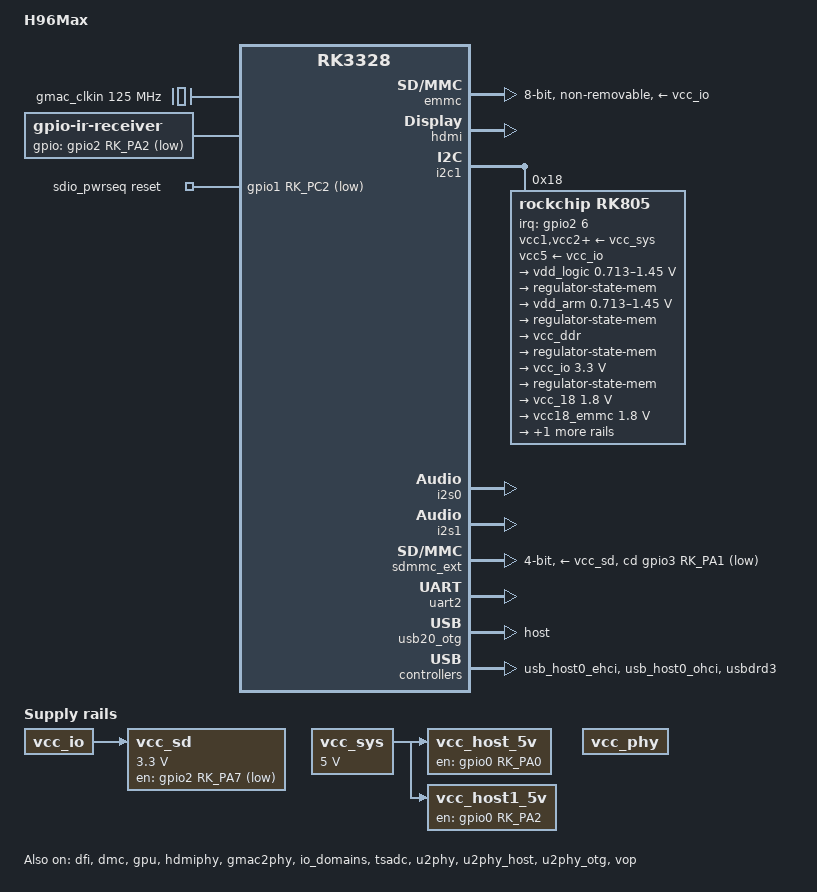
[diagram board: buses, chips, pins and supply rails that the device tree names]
// SPDX-License-Identifier: (GPL-2.0+ OR MIT)
/*
 * Copyright (c) 2017 PINE64
 */

/dts-v1/;
#include "rk3328.dtsi"

/ {
	model = "H96Max";
	compatible = "h96max,h96max", "rockchip,rk3328";

	chosen {
		bootargs = "earlycon=uart8250,mmio32,0xff130000";
		stdout-path = "serial2:1500000n8";
	};

// seems to be required to not touch the trust area - see:
// - https://forum.manjaro.org/t/rockpro64-kernel-panics-caused-by-firmware/117900
// - https://lore.kernel.org/linux-arm-kernel/006d3ee0-2711-1b4e-d8cf-6a226fcad0e4@arm.com/
// this section can be removed if a mainline u-boot without trustzone is used
	reserved-memory {
		#address-cells = <2>;
		#size-cells = <2>;
		ranges;

		tee@8400000 {
			reg = <0x0 0x8400000 0x0 0x2400000>;
			no-map;
		};
	};

// the ddr_timing is only used with legacy atf - mainline atf does not yet support dmc
	ddr_timing: ddr_timing {
		cs1_dq11_tx_de-skew = <0x7>;
		cs1_dq30_rx_de-skew = <0x7>;
		phy_lpddr3_ck_drv = <0x13>;
		cs0_dq8_tx_de-skew = <0x8>;
		cs0_dq31_tx_de-skew = <0x7>;
		lpddr4_odt_dis_freq = <0x320>;
		cs1_dq31_rx_de-skew = <0x7>;
		cs0_dq18_tx_de-skew = <0x9>;
		cs0_dqs1n_tx_de-skew = <0x8>;
		ddr4_dll_dis_freq = <0x271>;
		ddr3a14_ddr4a1_de-skew = <0x2>;
		phy_ddr4_odt_dis_freq = <0x29a>;
		cs1_dm1_tx_de-skew = <0x7>;
		cs0_dqs0_rx_de-skew = <0xa>;
		cs0_dqs1_rx_de-skew = <0x9>;
		cs0_dq9_rx_de-skew = <0xa>;
		cs0_dq25_rx_de-skew = <0x7>;
		phy_lpddr3_ca_drv = <0x16>;
		cs0_dq22_tx_de-skew = <0x9>;
		cs0_dq29_rx_de-skew = <0x7>;
		phy_ddr3_odt = <0x2>;
		cs0_dqs3_rx_de-skew = <0x7>;
		ddr3_dll_dis_freq = <0x12c>;
		cs1_dq16_rx_de-skew = <0x7>;
		ddr3a3_ddr4a6_de-skew = <0x3>;
		cs1_dq17_tx_de-skew = <0x8>;
		cs0_dq5_rx_de-skew = <0xc>;
		srpd_lite_idle = <0x0>;
		phy_lpddr4_odt = <0x10>;
		cs0_dq5_tx_de-skew = <0xa>;
		cs0_dqs3p_tx_de-skew = <0x8>;
		ddr3ras_ddr4cke_de-skew = <0x4>;
		cs1_dq28_tx_de-skew = <0x7>;
		cs1_dq8_rx_de-skew = <0x7>;
		cs1_dq14_tx_de-skew = <0x8>;
		compatible = "rockchip,ddr-timing";
		cs1_dq2_rx_de-skew = <0x7>;
		cs0_dq15_rx_de-skew = <0xa>;
		cs0_dqs3n_tx_de-skew = <0x8>;
		cs0_dm3_tx_de-skew = <0x7>;
		cs1_dq12_rx_de-skew = <0x7>;
		cs0_dq13_tx_de-skew = <0x8>;
		cs1_dm2_tx_de-skew = <0x8>;
		lpddr3_drv = <0x28>;
		ddr3a9_ddr4a0_de-skew = <0x2>;
		linux,phandle = <0xe2>;
		cs0_dqs1p_tx_de-skew = <0x8>;
		ddr3a15_ddr4odt0_de-skew = <0x3>;
		cs0_dq15_tx_de-skew = <0x8>;
		cs0_dqs0n_tx_de-skew = <0xb>;
		ddr4_odt_dis_freq = <0x29a>;
		cs1_dq15_tx_de-skew = <0x7>;
		cs1_dqs2n_tx_de-skew = <0x9>;
		cs1_dq26_tx_de-skew = <0x7>;
		cs0_dq8_rx_de-skew = <0xa>;
		cs1_dq18_rx_de-skew = <0x7>;
		cs1_dq13_rx_de-skew = <0x7>;
		cs0_dqs2_rx_de-skew = <0x9>;
		cs0_dq4_tx_de-skew = <0xa>;
		cs1_dq11_rx_de-skew = <0x7>;
		phy_ddr3_ca_drv = <0x1b>;
		ddr3odt0_ddr4a14_de-skew = <0x4>;
		cs0_dq14_rx_de-skew = <0xa>;
		cs1_dq3_tx_de-skew = <0x8>;
		cs1_dq0_rx_de-skew = <0x7>;
		cs1_dq4_tx_de-skew = <0x8>;
		cs1_dq21_tx_de-skew = <0x8>;
		cs1_dq24_tx_de-skew = <0x8>;
		auto_sr_dis_freq = <0x320>;
		cs0_dqs0p_tx_de-skew = <0xb>;
		cs1_dq9_tx_de-skew = <0x7>;
		cs0_dq9_tx_de-skew = <0x8>;
		cs1_dm2_rx_de-skew = <0x7>;
		ddr3a10_ddr4cs0_de-skew = <0x2>;
		cs0_dq10_rx_de-skew = <0xa>;
		lpddr4_drv = <0x3c>;
		ddr3a4_ddr4a5_de-skew = <0x2>;
		cs1_dqs3n_tx_de-skew = <0x9>;
		cs1_dq5_tx_de-skew = <0x8>;
		cs0_dq27_rx_de-skew = <0x7>;
		ddr3ba0_ddr4bg0_de-skew = <0x4>;
		cs1_dq10_tx_de-skew = <0x8>;
		ddr3odt1_ddr4odt1_de-skew = <0x7>;
		lpddr4_ca_odt = <0x28>;
		phy_lpddr3_odt = <0x2>;
		cs1_dq8_tx_de-skew = <0x8>;
		cs0_dq3_rx_de-skew = <0xc>;
		cs1_dq9_rx_de-skew = <0x7>;
		standby_idle = <0x0>;
		cs1_dq6_rx_de-skew = <0x7>;
		cs1_dq7_rx_de-skew = <0x7>;
		phy_lpddr3_odt_dis_freq = <0x29a>;
		cs1_dq24_rx_de-skew = <0x7>;
		cs0_dq2_tx_de-skew = <0xa>;
		phy_ddr4_ck_drv = <0x13>;
		cs0_dq2_rx_de-skew = <0xc>;
		cs0_dqs2p_tx_de-skew = <0x9>;
		phy_ddr3_odt_dis_freq = <0x64>;
		cs0_dq6_tx_de-skew = <0xa>;
		ddr3a1_ddr4a9_de-skew = <0x2>;
		cs0_dq6_rx_de-skew = <0xc>;
		cs0_dq21_rx_de-skew = <0xa>;
		cs1_dq27_tx_de-skew = <0x7>;
		cs1_dq2_tx_de-skew = <0x8>;
		ddr3ckn_ddr4ckn_de-skew = <0xa>;
		sr_idle = <0x0>;
		ddr3a11_ddr4a3_de-skew = <0x2>;
		cs1_dq3_rx_de-skew = <0x7>;
		cs0_dq3_tx_de-skew = <0xa>;
		cs1_dqs3_rx_de-skew = <0x7>;
		cs0_dq23_rx_de-skew = <0xa>;
		cs0_dq24_tx_de-skew = <0x7>;
		cs0_dq25_tx_de-skew = <0x7>;
		ddr3_speed_bin = <0x15>;
		cs1_dqs0p_tx_de-skew = <0x9>;
		cs1_dq29_tx_de-skew = <0x7>;
		cs1_dq20_rx_de-skew = <0x7>;
		cs1_dq22_rx_de-skew = <0x7>;
		ddr3cke_ddr4a16_de-skew = <0x2>;
		cs0_dm3_rx_de-skew = <0x7>;
		cs1_dm3_tx_de-skew = <0x7>;
		cs1_dq23_tx_de-skew = <0x8>;
		cs1_dq20_tx_de-skew = <0x8>;
		phy_lpddr3_dq_drv = <0x16>;
		cs0_dq19_tx_de-skew = <0x9>;
		cs0_dq7_tx_de-skew = <0xa>;
		lpddr4_dq_odt = <0x28>;
		cs1_dq19_tx_de-skew = <0x8>;
		cs0_dm2_rx_de-skew = <0xa>;
		cs0_dq24_rx_de-skew = <0x7>;
		cs1_dqs1n_tx_de-skew = <0x9>;
		cs1_dm1_rx_de-skew = <0x7>;
		cs0_dm2_tx_de-skew = <0x9>;
		ddr4_odt = <0xf0>;
		cs0_dm0_tx_de-skew = <0xa>;
		cs0_dq0_tx_de-skew = <0xa>;
		cs1_dq25_rx_de-skew = <0x7>;
		cs0_dq19_rx_de-skew = <0xa>;
		cs0_dq13_rx_de-skew = <0xa>;
		cs1_dq13_tx_de-skew = <0x7>;
		ddr3ba1_ddr4a15_de-skew = <0x2>;
		phy_lpddr4_dq_drv = <0x6>;
		cs1_dq26_rx_de-skew = <0x7>;
		cs0_dq20_tx_de-skew = <0x9>;
		cs0_dq22_rx_de-skew = <0xa>;
		ddr3a0_ddr4a10_de-skew = <0x3>;
		cs0_dq11_rx_de-skew = <0xa>;
		cs0_dq11_tx_de-skew = <0x8>;
		cs1_dqs1_rx_de-skew = <0x7>;
		cs0_dq30_rx_de-skew = <0x7>;
		ddr3_odt = <0x78>;
		phandle = <0xe2>;
		phy_ddr4_ca_drv = <0x16>;
		cs1_dq7_tx_de-skew = <0x8>;
		phy_dll_dis_freq = <0x190>;
		cs1_dq27_rx_de-skew = <0x7>;
		ddr3a13_ddr4a2_de-skew = <0x1>;
		cs1_dq1_rx_de-skew = <0x7>;
		cs0_dq20_rx_de-skew = <0xa>;
		cs0_dq29_tx_de-skew = <0x7>;
		cs0_dq16_rx_de-skew = <0xa>;
		cs0_dq12_rx_de-skew = <0xa>;
		cs1_dq19_rx_de-skew = <0x7>;
		ddr3a12_ddr4ba1_de-skew = <0x2>;
		cs1_dq15_rx_de-skew = <0x7>;
		cs1_dq18_tx_de-skew = <0x8>;
		cs1_dq31_tx_de-skew = <0x7>;
		cs1_dq14_rx_de-skew = <0x7>;
		cs0_dm1_tx_de-skew = <0x8>;
		cs0_dq7_rx_de-skew = <0xc>;
		cs0_dq4_rx_de-skew = <0xc>;
		cs1_dm0_rx_de-skew = <0x7>;
		cs1_dq25_tx_de-skew = <0x7>;
		cs1_dq30_tx_de-skew = <0x7>;
		ddr3a6_ddr4a7_de-skew = <0x2>;
		cs0_dq1_rx_de-skew = <0xc>;
		ddr3_odt_dis_freq = <0x64>;
		cs1_dqs2_rx_de-skew = <0x6>;
		phy_ddr4_dq_drv = <0x16>;
		cs1_dq16_tx_de-skew = <0x8>;
		cs1_dq6_tx_de-skew = <0x8>;
		ddr3a7_ddr4a11_de-skew = <0x3>;
		sr_mc_gate_idle = <0x0>;
		cs1_dq5_rx_de-skew = <0x7>;
		cs1_dq1_tx_de-skew = <0x8>;
		cs1_dqs3p_tx_de-skew = <0x9>;
		ddr3ba2_ddr4ba0_de-skew = <0x3>;
		phy_ddr3_dq_drv = <0x15>;
		phy_ddr4_odt = <0x2>;
		phy_ddr3_ck_drv = <0x15>;
		cs0_dq14_tx_de-skew = <0x8>;
		cs0_dq17_rx_de-skew = <0xa>;
		ddr4_speed_bin = <0xc>;
		phy_lpddr4_odt_dis_freq = <0x320>;
		pd_idle = <0x0>;
		cs1_dm0_tx_de-skew = <0x8>;
		cs0_dq21_tx_de-skew = <0x9>;
		cs0_dq28_tx_de-skew = <0x7>;
		ddr3reset_ddr4reset_de-skew = <0x7>;
		cs0_dq31_rx_de-skew = <0x7>;
		cs1_dq17_rx_de-skew = <0x7>;
		ddr3cas_ddr4a12_de-skew = <0x2>;
		ddr3_drv = <0x28>;
		cs0_dqs2n_tx_de-skew = <0x9>;
		cs1_dq29_rx_de-skew = <0x7>;
		cs1_dm3_rx_de-skew = <0x7>;
		cs1_dq4_rx_de-skew = <0x7>;
		cs0_dq26_rx_de-skew = <0x7>;
		cs1_dq21_rx_de-skew = <0x7>;
		ddr3a2_ddr4a4_de-skew = <0x2>;
		ddr4_drv = <0x22>;
		cs0_dq30_tx_de-skew = <0x7>;
		ddr3ckp_ddr4ckp_de-skew = <0xa>;
		cs0_dq16_tx_de-skew = <0x9>;
		cs0_dm0_rx_de-skew = <0xc>;
		cs1_dq12_tx_de-skew = <0x8>;
		ddr3a8_ddr4a13_de-skew = <0x1>;
		cs0_dq12_tx_de-skew = <0x8>;
		cs0_dq0_rx_de-skew = <0xc>;
		ddr3cs0_ddr4act_de-skew = <0x4>;
		cs0_dq10_tx_de-skew = <0x8>;
		cs0_dq26_tx_de-skew = <0x7>;
		cs0_dq17_tx_de-skew = <0x9>;
		cs0_dq27_tx_de-skew = <0x7>;
		cs1_dq23_rx_de-skew = <0x7>;
		cs1_dq0_tx_de-skew = <0x8>;
		cs0_dq1_tx_de-skew = <0xa>;
		cs1_dqs1p_tx_de-skew = <0x9>;
		ddr3a5_ddr4a8_de-skew = <0x3>;
		cs1_dq22_tx_de-skew = <0x8>;
		lpddr3_odt_dis_freq = <0x29a>;
		cs1_dq10_rx_de-skew = <0x7>;
		phy_lpddr4_ca_drv = <0x14>;
		cs1_dq28_rx_de-skew = <0x7>;
		cs0_dq28_rx_de-skew = <0x7>;
		ddr3cs1_ddr4cs1_de-skew = <0x7>;
		cs1_dqs2p_tx_de-skew = <0x9>;
		cs0_dq23_tx_de-skew = <0x9>;
		phy_lpddr4_ck_cs_drv = <0x6>;
		ddr3we_ddr4bg1_de-skew = <0x2>;
		cs1_dqs0n_tx_de-skew = <0x9>;
		auto_pd_dis_freq = <0x42a>;
		cs0_dm1_rx_de-skew = <0xa>;
		cs1_dqs0_rx_de-skew = <0x6>;
		cs0_dq18_rx_de-skew = <0xa>;
		lpddr3_odt = <0xf0>;
	};

//	analog_sound {
//		compatible = "simple-audio-card";
//		simple-audio-card,format = "i2s";
//		simple-audio-card,mclk-fs = <256>;
//		simple-audio-card,name = "ANALOG";
//
//		simple-audio-card,cpu {
//			sound-dai = <&i2s1>;
//		};
//
//		simple-audio-card,codec {
//			sound-dai = <&codec>;
//		};
//	};
//
//	hdmi_sound {
//		compatible = "simple-audio-card";
//		simple-audio-card,format = "i2s";
//		simple-audio-card,mclk-fs = <128>;
//		simple-audio-card,name = "HDMI";
//
//		simple-audio-card,cpu {
//			sound-dai = <&i2s0>;
//		};
//
//		simple-audio-card,codec {
//			sound-dai = <&hdmi>;
//		};
//	};

// this ends up in deferred devices so lets keep it off for now
//	leds {
//		compatible = "gpio-leds";
//
//		power {
//			gpios = <&rk805 0 GPIO_ACTIVE_LOW>;
//			linux,default-trigger = "none";
//			default-state = "on";
//			mode = <35>;
//		};
//	};

	gmac_clkin: external-gmac-clock {
		compatible = "fixed-clock";
		clock-frequency = <125000000>;
		clock-output-names = "gmac_clkin";
		#clock-cells = <0>;
	};

	vcc_sd: sdmmc-ext-regulator {
		compatible = "regulator-fixed";
		gpio = <&gpio2 RK_PA7 GPIO_ACTIVE_HIGH>;
		pinctrl-names = "default";
		pinctrl-0 = <&sdmmc0m0_pin>;
		regulator-name = "vcc_sd";
		regulator-min-microvolt = <3300000>;
		regulator-max-microvolt = <3300000>;
		vin-supply = <&vcc_io>;
	};

	vcc_host_5v: vcc-host-5v-regulator {
		compatible = "regulator-fixed";
		enable-active-high;
		gpio = <&gpio0 RK_PA0 GPIO_ACTIVE_HIGH>;
		pinctrl-names = "default";
		pinctrl-0 = <&usb30_host_drv>;
		regulator-name = "vcc_host_5v";
		regulator-always-on;
		regulator-boot-on;
		vin-supply = <&vcc_sys>;
	};

	vcc_host1_5v: vcc_otg_5v: vcc-host1-5v-regulator {
		compatible = "regulator-fixed";
		enable-active-high;
		gpio = <&gpio0 RK_PA2 GPIO_ACTIVE_HIGH>;
		pinctrl-names = "default";
		pinctrl-0 = <&usb20_host_drv>;
		regulator-name = "vcc_host1_5v";
		regulator-always-on;
		regulator-boot-on;
		vin-supply = <&vcc_sys>;
	};

	vcc_sys: vcc-sys {
		compatible = "regulator-fixed";
		regulator-name = "vcc_sys";
		regulator-always-on;
		regulator-boot-on;
		regulator-min-microvolt = <5000000>;
		regulator-max-microvolt = <5000000>;
	};

	ir-receiver {
		compatible = "gpio-ir-receiver";
		gpios = <&gpio2 RK_PA2 GPIO_ACTIVE_LOW>;
		pinctrl-0 = <&ir_int>;
		pinctrl-names = "default";
	};

        sdio_pwrseq: sdio-pwrseq {
                compatible = "mmc-pwrseq-simple";
                pinctrl-names = "default";
                pinctrl-0 = <&wifi_enable_h>;
                reset-gpios = <&gpio1 RK_PC2 GPIO_ACTIVE_LOW>;
        };

	vcc_phy: vcc-phy-regulator {
		compatible = "regulator-fixed";
		regulator-name = "vcc_phy";
		regulator-always-on;
		regulator-boot-on;
	};
};

// this ends up in deferred devices so lets keep it off for now
//&analog_sound {
//	status = "okay";
//};
//
//&codec {
//	status = "okay";
//	mute-gpios = <&grf_gpio 0 GPIO_ACTIVE_LOW>;
//};

&cpu0 {
	cpu-supply = <&vdd_arm>;
};

&cpu1 {
	cpu-supply = <&vdd_arm>;
};

&cpu2 {
	cpu-supply = <&vdd_arm>;
};

&cpu3 {
	cpu-supply = <&vdd_arm>;
};

/* enable the clocks higher than 1.3ghz */
&cpu0_opp_table {
	opp-1392000000 {
		opp-hz = /bits/ 64 <1392000000>;
		opp-microvolt = <1350000>;
		clock-latency-ns = <40000>;
		status = "okay";
	};
	opp-1416000000 {
		opp-hz = /bits/ 64 <1416000000>;
		opp-microvolt = <1450000>;
		clock-latency-ns = <40000>;
		status = "okay";
		turbo-mode;
	};
	opp-1488000000 {
		opp-hz = /bits/ 64 <1488000000>;
		opp-microvolt = <1450000>;
		clock-latency-ns = <40000>;
		status = "okay";
		turbo-mode;
	};
	opp-1512000000 {
		opp-hz = /bits/ 64 <1512000000>;
		opp-microvolt = <1450000>;
		clock-latency-ns = <40000>;
		status = "okay";
		turbo-mode;
	};
	opp-1608000000 {
		opp-hz = /bits/ 64 <1608000000>;
		opp-microvolt = <1450000>;
		clock-latency-ns = <40000>;
		status = "okay";
		turbo-mode;
	};
};

&dfi {
	status = "okay";
};

&dmc {
	center-supply = <&vdd_logic>;
	ddr_timing = <&ddr_timing>;
	status = "okay";
};

&emmc {
	supports-emmc;
	no-sdio;
	no-sd;
	cap-mmc-highspeed;
// the original dtb did support hs200 and ddr for emmc
	mmc-hs200-1_8v;
	mmc-ddr-1_8v;
	mmc-ddr-3_3v;
	disable-wp;
	non-removable;
	bus-width = <8>;
	num-slots = <1>;
	pinctrl-names = "default";
	pinctrl-0 = <&emmc_clk &emmc_cmd &emmc_bus8>;
	vmmc-supply = <&vcc_io>;
	vqmmc-supply = <&vcc_18>;
	status = "okay";
};

&gmac2io {
	assigned-clocks = <&cru SCLK_MAC2IO>, <&cru SCLK_MAC2IO_EXT>;
	assigned-clock-parents = <&gmac_clkin>, <&gmac_clkin>;
	clock_in_out = "input";
	phy-supply = <&vcc_phy>;
	phy-mode = "rgmii";
	pinctrl-names = "default";
	pinctrl-0 = <&rgmiim1_pins>;
	rockchip,bugged_tx_coe;
	snps,reset-gpio = <&gpio1 RK_PC2 GPIO_ACTIVE_LOW>;
	snps,reset-active-low;
	snps,reset-delays-us = <0 10000 50000>;
	tx_delay = <0x24>;
	rx_delay = <0x18>;
	status = "disabled";
};

&gpu {
	status = "okay";
};

&hdmi {
	status = "okay";
};

&hdmiphy {
	status = "okay";
};

// lets keep all sound output off for now
//&hdmi_sound {
//	status = "okay";
//};

&gmac2phy {
	phy-supply = <&vcc_phy>;
	clock_in_out = "output";
	assigned-clocks = <&cru SCLK_MAC2PHY_SRC>;
	assigned-clock-rate = <50000000>;
	assigned-clocks = <&cru SCLK_MAC2PHY>;
	assigned-clock-parents = <&cru SCLK_MAC2PHY_SRC>;
	status = "okay";
};

&i2c1 {
	status = "okay";

	rk805: rk805@18 {
		compatible = "rockchip,rk805";
		reg = <0x18>;
		interrupt-parent = <&gpio2>;
		interrupts = <6 IRQ_TYPE_LEVEL_LOW>;
		#clock-cells = <1>;
		clock-output-names = "xin32k", "rk805-clkout2";
		gpio-controller;
		#gpio-cells = <2>;
		pinctrl-names = "default";
		pinctrl-0 = <&pmic_int_l>;
		rockchip,system-power-controller;
		wakeup-source;

		vcc1-supply = <&vcc_sys>;
		vcc2-supply = <&vcc_sys>;
		vcc3-supply = <&vcc_sys>;
		vcc4-supply = <&vcc_sys>;
		vcc5-supply = <&vcc_io>;
		vcc6-supply = <&vcc_sys>;

		regulators {
			vdd_logic: DCDC_REG1 {
				regulator-name = "vdd_logic";
				regulator-min-microvolt = <712500>;
				regulator-max-microvolt = <1450000>;
				regulator-initial-mode = <0x1>;
				regulator-ramp-delay = <12500>;
				regulator-always-on;
				regulator-boot-on;
				regulator-state-mem {
					regulator-mode = <0x2>;
					regulator-on-in-suspend;
					regulator-suspend-microvolt = <1000000>;
				};
			};

			vdd_arm: DCDC_REG2 {
				regulator-name = "vdd_arm";
				regulator-min-microvolt = <712500>;
				regulator-max-microvolt = <1450000>;
				regulator-initial-mode = <0x1>;
				regulator-ramp-delay = <12500>;
				regulator-always-on;
				regulator-boot-on;
				regulator-state-mem {
					regulator-mode = <0x2>;
					regulator-on-in-suspend;
					regulator-suspend-microvolt = <950000>;
				};
			};

			vcc_ddr: DCDC_REG3 {
				regulator-name = "vcc_ddr";
				regulator-initial-mode = <0x1>;
				regulator-always-on;
				regulator-boot-on;
				regulator-state-mem {
					regulator-mode = <0x2>;
					regulator-on-in-suspend;
				};
			};

			vcc_io: DCDC_REG4 {
				regulator-name = "vcc_io";
				regulator-min-microvolt = <3300000>;
				regulator-max-microvolt = <3300000>;
				regulator-initial-mode = <0x1>;
				regulator-always-on;
				regulator-boot-on;
				regulator-state-mem {
					regulator-mode = <0x2>;
					regulator-on-in-suspend;
					regulator-suspend-microvolt = <3300000>;
				};
			};

			vcc_18: LDO_REG1 {
				regulator-name = "vcc_18";
				regulator-min-microvolt = <1800000>;
				regulator-max-microvolt = <1800000>;
				regulator-always-on;
				regulator-boot-on;
				regulator-state-mem {
					regulator-on-in-suspend;
					regulator-suspend-microvolt = <1800000>;
				};
			};

			vcc18_emmc: LDO_REG2 {
				regulator-name = "vcc18_emmc";
				regulator-min-microvolt = <1800000>;
				regulator-max-microvolt = <1800000>;
				regulator-always-on;
				regulator-boot-on;
				regulator-state-mem {
					regulator-on-in-suspend;
					regulator-suspend-microvolt = <1800000>;
				};
			};

			vdd_10: LDO_REG3 {
				regulator-name = "vdd_10";
				regulator-min-microvolt = <1000000>;
				regulator-max-microvolt = <1000000>;
				regulator-always-on;
				regulator-boot-on;
				regulator-state-mem {
					regulator-on-in-suspend;
					regulator-suspend-microvolt = <1000000>;
				};
			};
		};
	};
};

&i2s0 {
	status = "okay";
};

&i2s1 {
	status = "okay";
};

&io_domains {
	status = "okay";

	vccio1-supply = <&vcc_io>;
	vccio2-supply = <&vcc18_emmc>;
	vccio3-supply = <&vcc_io>;
	vccio4-supply = <&vcc_18>;
	vccio5-supply = <&vcc_io>;
	vccio6-supply = <&vcc_io>;
	pmuio-supply = <&vcc_io>;
};

&pinctrl {
	ir {
		ir_int: ir-int {
			rockchip,pins = <2 RK_PA2 RK_FUNC_GPIO &pcfg_pull_none>;
		};
	};

	pmic {
		pmic_int_l: pmic-int-l {
			rockchip,pins = <2 RK_PA6 RK_FUNC_GPIO &pcfg_pull_up>;
		};
	};

        sdio-pwrseq {
                wifi_enable_h: wifi-enable-h {
                rockchip,pins =
                        <1 RK_PC2 RK_FUNC_GPIO &pcfg_pull_none>;
                };
        };

	usb2 {
		usb20_host_drv: usb20-host-drv {
			rockchip,pins = <0 RK_PA2 RK_FUNC_GPIO &pcfg_pull_none>;
		};
	};

	usb3 {
		usb30_host_drv: usb30-host-drv {
			rockchip,pins = <0 RK_PA0 RK_FUNC_GPIO &pcfg_pull_none>;
		};
	};
};

&sdmmc_ext {
	#address-cells = <1>;
	#size-cells = <0>;
	bus-width = <4>;
	cap-mmc-highspeed;
	cap-sd-highspeed;
	card-detect-delay = <500>;
	cd-gpios = <&gpio3 RK_PA1 GPIO_ACTIVE_LOW>;
	disable-wp;
	no-sdio;
	pinctrl-names = "default";
	pinctrl-0 = <&sdmmc0ext_clk &sdmmc0ext_cmd &sdmmc0ext_dectn &sdmmc0ext_bus4>;
	supports-sd;
	vmmc-supply = <&vcc_sd>;
	status = "okay";
};

// this needs some extra patches as well
//&spdif {
//	pinctrl-0 = <&spdifm0_tx>;
//	status = "okay";
//};

//&spdif_out {
//	status = "okay";
//};

//&spdif_sound {
//	status = "okay";
//};

&tsadc {
	rockchip,hw-tshut-mode = <0>;
	rockchip,hw-tshut-polarity = <0>;
	status = "okay";
};

&uart2 {
	status = "okay";
};

&u2phy {
	status = "okay";
};

&u2phy_host {
	status = "okay";
};

&u2phy_otg {
	status = "okay";
};

&usb20_otg {
	dr_mode = "host";
	status = "okay";
};

&usb_host0_ehci {
	status = "okay";
};

&usb_host0_ohci {
	status = "okay";
};

&vop {
	status = "okay";
};

&vop_mmu {
	status = "okay";
};

&usbdrd3 {
	status = "okay";
};

//&usbdrd_dwc3 {
//	dr_mode = "host";
//	status = "okay";
//};
